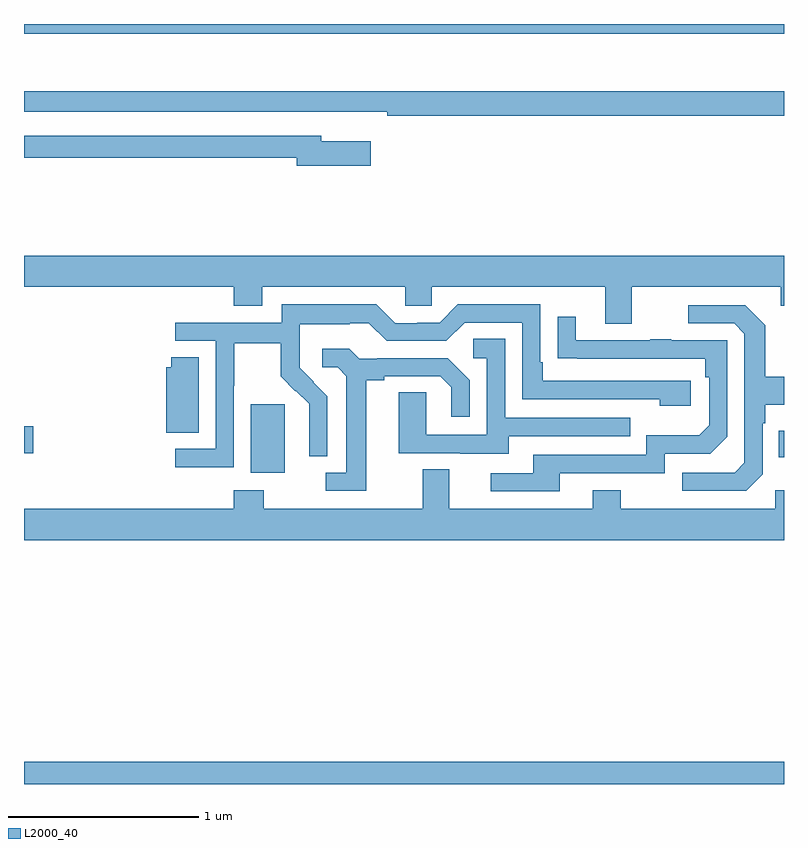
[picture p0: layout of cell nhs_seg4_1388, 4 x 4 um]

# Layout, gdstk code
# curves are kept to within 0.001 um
import gdstk
lib = gdstk.Library(unit=1e-6, precision=1e-09)
def R(c, l, rs):  # rectangles x0, y0, x1, y1
    for r in rs: c.add(gdstk.rectangle(r[:2], r[2:], *l))
def P(c, l, *ps):  # polygons
    for p in ps: c.add(gdstk.Polygon(p, *l))
L2000_40 = (2000, 40)

nhs_seg4_1388 = lib.new_cell('nhs_seg4_1388')
R(nhs_seg4_1388, L2000_40, [(183,764.9,187,765.016), (184.193,766.538,184.372,766.899), (186.973,766.619,187,766.759), (183,766.642,183.049,766.784), (183,768.848,187,768.9)])
P(nhs_seg4_1388, L2000_40, [(187,768.547),(183,768.547),(183,768.438),(184.66,768.438),(184.66,768.437),(184.912,768.437),(184.912,768.418),(187,768.418)],
  [(184.825,768.283),(184.564,768.283),(184.564,768.312),(183,768.312),(183,768.196),(184.436,768.196),(184.436,768.154),(184.825,768.154)],
  [(186.199,767.516),(186.983,767.516),(186.983,767.417),(187,767.417),(187,767.68),(183,767.68),(183,767.516),(184.103,767.516),(184.103,767.417),(184.255,767.417),(184.255,767.516),(185.007,767.516),(185.007,767.418),(185.145,767.418),(185.145,767.516),(186.059,767.516),(186.059,767.322),(186.199,767.322)],
  [(184.104,766.996),(184.107,766.996),(184.107,767.22),(184.351,767.22),(184.351,767.045),(184.428,766.968),(184.431,766.971),(184.502,766.901),(184.502,766.778),(184.5,766.778),(184.5,766.624),(184.596,766.624),(184.596,766.942),(184.45,767.09),(184.45,767.187),(184.452,767.187),(184.452,767.321),(184.715,767.321),(184.715,767.325),(184.815,767.325),(184.908,767.232),(185.223,767.232),(185.319,767.328),(185.622,767.328),(185.622,766.926),(186.347,766.926),(186.347,766.892),(186.508,766.892),(186.508,767.022),(185.731,767.022),(185.731,767.119),(185.718,767.119),(185.718,767.424),(185.283,767.424),(185.187,767.328),(185.069,767.328),(185.069,767.325),(184.953,767.325),(184.853,767.425),(184.356,767.425),(184.356,767.328),(183.795,767.328),(183.795,767.232),(184.008,767.232),(184.008,766.665),(183.795,766.665),(183.795,766.567),(184.104,766.567)],
  [(186.888,766.53),(186.888,766.799),(186.901,766.799),(186.901,766.895),(187,766.895),(187,767.043),(186.901,767.043),(186.901,767.315),(186.795,767.421),(186.495,767.421),(186.495,767.325),(186.738,767.325),(186.792,767.271),(186.792,766.59),(186.741,766.539),(186.465,766.539),(186.465,766.443),(186.801,766.443)],
  [(185.821,766.536),(186.372,766.536),(186.372,766.638),(186.612,766.638),(186.702,766.728),(186.702,767.235),(186.407,767.235),(186.407,767.24),(186.295,767.24),(186.295,767.235),(185.905,767.235),(185.905,767.359),(185.809,767.359),(185.809,767.14),(186.586,767.139),(186.586,767.042),(186.606,767.042),(186.606,766.788),(186.553,766.735),(186.276,766.735),(186.276,766.632),(185.681,766.632),(185.681,766.536),(185.457,766.536),(185.457,766.44),(185.821,766.44)],
  [(185.551,766.731),(186.191,766.731),(186.191,766.827),(185.532,766.827),(185.532,767.243),(185.364,767.243),(185.364,767.142),(185.436,767.142),(185.436,766.737),(185.118,766.737),(185.118,766.961),(184.973,766.961),(184.973,766.641),(185.297,766.641),(185.297,766.637),(185.551,766.637)],
  [(184.801,767.024),(184.897,767.024),(184.897,767.046),(185.192,767.046),(185.249,766.989),(185.249,766.833),(185.346,766.833),(185.346,767.026),(185.23,767.142),(184.858,767.142),(184.858,767.139),(184.764,767.139),(184.712,767.191),(184.569,767.191),(184.569,767.094),(184.65,767.094),(184.697,767.047),(184.697,766.539),(184.587,766.539),(184.587,766.443),(184.801,766.443)],
  [(183.919,767.147),(183.776,767.147),(183.776,767.094),(183.749,767.094),(183.749,766.75),(183.919,766.75)],
  [(187,766.447),(186.954,766.447),(186.954,766.348),(186.141,766.348),(186.141,766.447),(185.993,766.447),(185.993,766.348),(185.239,766.348),(185.239,766.556),(185.099,766.556),(185.099,766.348),(184.263,766.348),(184.263,766.447),(184.103,766.447),(184.103,766.348),(183,766.348),(183,766.184),(187,766.184)])

lib.write_gds('nhs_seg4_1388.gds')
